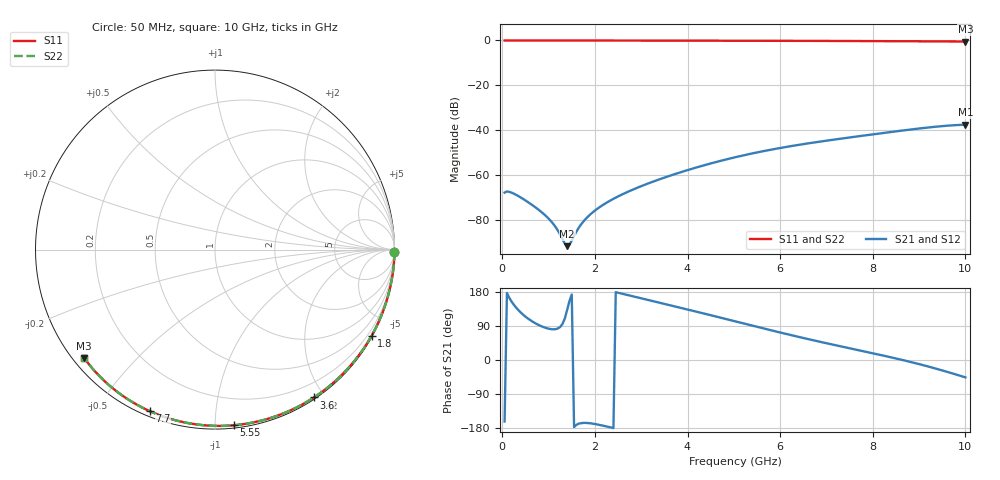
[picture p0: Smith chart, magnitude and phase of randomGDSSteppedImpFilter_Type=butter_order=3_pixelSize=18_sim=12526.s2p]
! freq	dB(S11)	phase(S11)	dB(S12)	phase(S12)
!  dB(S21)	phase(S21)	dB(S22)	phase(S22)
!S-par simulation data
#  GHz  S  DB  R 50
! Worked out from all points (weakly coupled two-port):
!   200 points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, 50 MHz to 10 GHz, reference 50 ohm
!   highest |S21| = -37.55 dB at 10 GHz (marker M1); lowest = -91.7 dB at 1.4 GHz (marker M2)
!   lowest |S11| = -0.5 dB at 10 GHz (marker M3), VSWR 36.60, Z = 1.54 - j18 ohm
!   |S11| at or under -10 dB: nowhere
!   |S22| runs from -0.5 to 0.0 dB; largest |S21 - S12| = 0
!   S11 on the Smith chart (normalised r, x): 50 MHz: open; 1.8 GHz: 0.03, -3.90; 3.6 GHz: 0.02, -1.87; 5.55 GHz: 0.02, -1.11; 7.7 GHz: 0.02, -0.68; 10 GHz: 0.03, -0.36
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0.05  -0.00 -0.8  -67.84 -162.3  -67.84 -162.3  -0.00 -0.8
0.1  -0.00 -1.6  -67.34 176.9  -67.34 176.9  -0.00 -1.6
0.15  -0.00 -2.4  -67.51 164.3  -67.51 164.3  -0.00 -2.4
0.35  -0.00 -5.7  -69.42 131.3  -69.42 131.3  -0.00 -5.7
0.7  -0.01 -11.3  -74.17 97.8  -74.17 97.8  -0.01 -11.3
1.05  -0.02 -16.9  -80.55 81.5  -80.55 81.5  -0.02 -16.9
1.4  -0.03 -22.5  -91.73 131.9  -91.73 131.9  -0.03 -22.5
1.75  -0.04 -28.0  -80.77 -166.0  -80.77 -166.0  -0.04 -28.0
1.8  -0.04 -28.8  -79.60 -165.9  -79.60 -165.9  -0.04 -28.8
2.05  -0.04 -32.7  -75.07 -170.1  -75.07 -170.1  -0.04 -32.7
2.35  -0.05 -37.3  -71.17 -178.1  -71.17 -178.1  -0.05 -37.3
2.85  -0.06 -45.0  -66.23 167.2  -66.23 167.2  -0.06 -45.0
3.4  -0.07 -53.2  -61.87 151.0  -61.87 151.0  -0.07 -53.2
3.6  -0.08 -56.2  -60.45 145.1  -60.45 145.1  -0.08 -56.2
4.3  -0.09 -66.4  -55.99 124.3  -55.99 124.3  -0.09 -66.4
5.05  -0.12 -76.9  -51.98 101.4  -51.98 101.4  -0.12 -76.9
5.55  -0.14 -83.8  -49.72 86.1  -49.72 86.1  -0.14 -83.8
6.7  -0.19 -99.1  -45.59 52.5  -45.59 52.5  -0.19 -99.1
7.7  -0.26 -111.9  -42.70 25.7  -42.70 25.7  -0.26 -111.9
8.35  -0.31 -120.1  -40.93 8.3  -40.93 8.3  -0.31 -120.1
9.35  -0.40 -132.4  -38.49 -22.3  -38.49 -22.3  -0.40 -132.4
10  -0.47 -140.3  -37.55 -45.8  -37.55 -45.8  -0.47 -140.3
